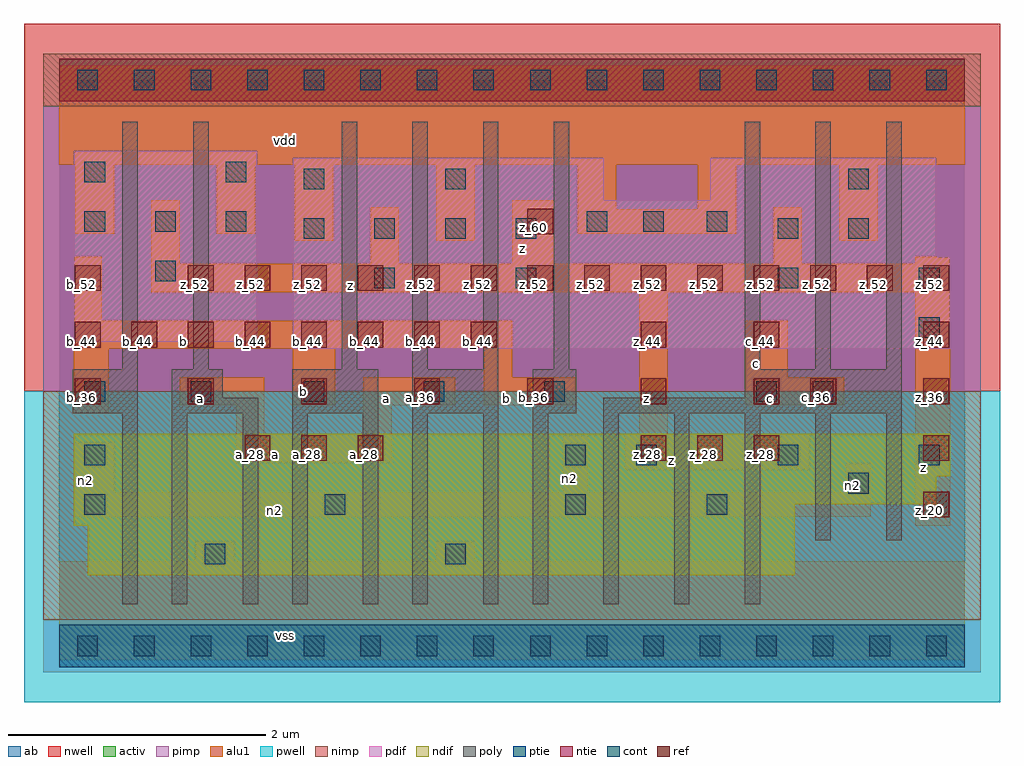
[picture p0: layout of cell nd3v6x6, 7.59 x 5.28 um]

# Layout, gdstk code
import gdstk
lib = gdstk.Library(unit=1e-6, precision=2.5e-09)
def R(c, l, rs):  # rectangles x0, y0, x1, y1
    for r in rs: c.add(gdstk.rectangle(r[:2], r[2:], *l))
def A(c, l, x, y, w, h, nx, ny, dx, dy):  # array of equal rectangles
    R(c, l, [(x+i*dx, y+j*dy, x+i*dx+w, y+j*dy+h) for i in range(nx) for j in range(ny)])
ndif = (3, 0)
pdif = (4, 0)
ntie = (5, 0)
ptie = (6, 0)
ref = (24, 0)
cont = (25, 0)
pwell = (41, 0)
nwell = (42, 0)
activ = (43, 0)
pimp = (44, 0)
nimp = (45, 0)
poly = (46, 0)
alu1 = (49, 0)
ab = (63, 0)

nd3v6x6 = lib.new_cell('nd3v6x6')
R(nd3v6x6, ndif, [(0.22,0.55,5.72,0.935), (0.11,0.935,5.72,1.1), (0.11,1.1,6.82,1.32), (0.11,1.32,6.93,1.65)])
R(nd3v6x6, pdif, [(1.815,2.31,6.93,3.025), (0.11,2.365,1.54,3.85), (1.815,3.025,6.82,3.465), (1.815,3.465,4.235,3.795), (5.06,3.465,6.82,3.795)])
R(nd3v6x6, ntie, [(0,4.235,7.04,4.565)])
R(nd3v6x6, ptie, [(0,-0.165,7.04,0.165)])
A(nd3v6x6, ref, 6.72, 1, 0.2, 0.2, 1, 4, 0, 0.44)
A(nd3v6x6, ref, 1.44, 1.44, 0.2, 0.2, 3, 1, 0.44, 0)
A(nd3v6x6, ref, 4.52, 1.44, 0.2, 0.2, 3, 1, 0.44, 0)
A(nd3v6x6, ref, 0.12, 1.88, 0.2, 0.2, 7, 1, 0.88, 0)
A(nd3v6x6, ref, 0.12, 2.32, 0.2, 0.2, 8, 1, 0.44, 0)
A(nd3v6x6, ref, 1, 2.76, 0.2, 0.2, 14, 1, 0.44, 0)
R(nd3v6x6, ref, [(5.84,1.88,6.04,2.08), (4.52,2.32,4.72,2.52), (5.4,2.32,5.6,2.52), (0.12,2.76,0.32,2.96), (3.64,3.2,3.84,3.4)])
A(nd3v6x6, cont, 0.14, -0.08, 0.16, 0.16, 16, 2, 0.44, 4.4)
A(nd3v6x6, cont, 0.195, 1.02, 0.16, 0.16, 3, 1, 1.87, 0)
A(nd3v6x6, cont, 4.485, 1.405, 0.16, 0.16, 3, 1, 1.1, 0)
A(nd3v6x6, cont, 1.9, 1.9, 0.16, 0.16, 3, 1, 0.935, 0)
A(nd3v6x6, cont, 1.9, 3.165, 0.16, 0.16, 4, 1, 0.55, 0)
A(nd3v6x6, cont, 0.195, 3.22, 0.16, 0.16, 3, 1, 0.55, 0)
R(nd3v6x6, cont, [(1.13,0.635,1.29,0.795), (3,0.635,3.16,0.795), (5.035,1.02,5.195,1.18), (6.135,1.185,6.295,1.345), (0.195,1.405,0.355,1.565), (3.935,1.405,4.095,1.565), (0.195,1.9,0.355,2.06), (1.02,1.9,1.18,2.06), (5.42,1.9,5.58,2.06), (5.86,1.9,6.02,2.06), (6.685,2.395,6.845,2.555), (2.45,2.78,2.61,2.94), (3.55,2.78,3.71,2.94), (5.585,2.78,5.745,2.94), (6.685,2.78,6.845,2.94), (0.745,2.835,0.905,2.995), (5.585,3.165,5.745,3.325), (6.135,3.165,6.295,3.325), (4.1,3.22,4.26,3.38), (4.54,3.22,4.7,3.38), (5.035,3.22,5.195,3.38), (1.9,3.55,2.06,3.71), (3,3.55,3.16,3.71), (6.135,3.55,6.295,3.71), (0.195,3.605,0.355,3.765), (1.295,3.605,1.455,3.765)])
R(nd3v6x6, pwell, [(-0.275,-0.44,7.315,1.98)])
R(nd3v6x6, nwell, [(-0.275,1.98,7.315,4.84)])
R(nd3v6x6, activ, [(0,-0.165,7.04,0.165), (0.22,0.55,5.72,0.935), (0.11,0.935,5.72,1.1), (0.11,1.1,6.82,1.32), (0.11,1.32,6.93,1.65), (1.815,2.31,6.93,3.025), (0.11,2.365,1.54,3.85), (1.815,3.025,6.82,3.465), (1.815,3.465,4.235,3.795), (5.06,3.465,6.82,3.795), (0,4.235,7.04,4.565)])
R(nd3v6x6, pimp, [(-0.125,-0.205,7.165,0.205), (-0.125,1.98,7.165,4.195)])
R(nd3v6x6, nimp, [(-0.125,0.205,7.165,1.98), (-0.125,4.195,7.165,4.605)])
A(nd3v6x6, poly, 3.68, 0.325, 0.12, 1.485, 4, 1, 0.55, 0)
A(nd3v6x6, poly, 2.195, 2.15, 0.12, 1.925, 4, 1, 0.55, 0)
A(nd3v6x6, poly, 5.33, 2.15, 0.12, 1.925, 3, 1, 0.55, 0)
R(nd3v6x6, poly, [(0.49,0.325,0.61,1.81), (0.875,0.325,0.995,1.81), (1.425,0.325,1.545,1.81), (1.81,0.325,1.93,1.81), (2.36,0.325,2.48,1.81), (2.745,0.325,2.865,1.81), (3.295,0.325,3.415,1.81), (5.88,0.82,6,1.81), (6.43,0.82,6.55,1.81), (0.105,1.81,0.61,2.15), (0.875,1.81,1.545,1.93), (1.81,1.81,2.48,2.15), (2.745,1.81,3.415,2.15), (3.68,1.81,4.02,2.15), (4.23,1.81,6.55,1.93), (0.875,1.93,1.27,2.15), (5.33,1.93,6.55,2.15), (0.49,2.15,0.61,4.075), (1.04,2.15,1.16,4.075)])
R(nd3v6x6, alu1, [(0,-0.11,7.04,0.66), (1.06,0.66,1.36,0.81), (2.93,0.66,3.23,0.81), (6.655,0.935,6.93,2.75), (0.125,1.005,6.31,1.195), (0.125,1.195,0.425,1.58), (3.92,1.195,4.11,1.635), (6.12,1.195,6.31,1.415), (4.4,1.375,5.83,1.65), (1.375,1.43,2.585,1.65), (1.375,1.65,1.595,1.87), (2.365,1.65,2.585,1.87), (4.51,1.65,4.73,2.75), (0.11,1.815,0.385,2.31), (0.935,1.87,1.595,2.09), (1.815,1.87,2.145,2.31), (2.365,1.87,3.08,2.09), (3.3,1.87,4.015,2.09), (5.335,1.87,6.105,2.09), (3.3,2.09,3.52,2.31), (5.335,2.09,5.665,2.53), (0.11,2.31,3.52,2.53), (0.11,2.53,0.33,3.025), (0.715,2.75,6.93,2.97), (0.715,2.97,0.935,3.465), (2.42,2.97,2.64,3.41), (3.52,2.97,3.85,3.465), (5.555,2.97,5.775,3.41), (6.655,2.97,6.93,3.025), (1.83,3.15,2.13,3.74), (2.93,3.15,3.23,3.74), (6.065,3.15,6.365,3.74), (0.125,3.205,0.425,3.74), (1.225,3.205,1.525,3.74), (4.03,3.205,5.265,3.395), (4.03,3.395,4.33,3.74), (4.965,3.395,5.265,3.74), (0,3.74,7.04,4.51)])
R(nd3v6x6, ab, [(0,0,7.04,4.4)])
nd3v6x6.add(gdstk.Label('vss', (1.76,0.0825), layer=49, texttype=0))
nd3v6x6.add(gdstk.Label('z', (6.7225,1.3875), layer=49, texttype=0))
nd3v6x6.add(gdstk.Label('n2', (1.67,1.0525), layer=49, texttype=0))
nd3v6x6.add(gdstk.Label('n2', (6.1675,1.25), layer=49, texttype=0))
nd3v6x6.add(gdstk.Label('z', (4.7575,1.4425), layer=49, texttype=0))
nd3v6x6.add(gdstk.Label('n2', (3.9675,1.305), layer=49, texttype=0))
nd3v6x6.add(gdstk.Label('a', (1.6775,1.485), layer=49, texttype=0))
nd3v6x6.add(gdstk.Label('n2', (0.2,1.29), layer=49, texttype=0))
nd3v6x6.add(gdstk.Label('c', (5.5275,1.925), layer=49, texttype=0))
nd3v6x6.add(gdstk.Label('c', (5.4175,2.2), layer=49, texttype=0))
nd3v6x6.add(gdstk.Label('z', (4.565,1.925), layer=49, texttype=0))
nd3v6x6.add(gdstk.Label('b', (3.4775,1.925), layer=49, texttype=0))
nd3v6x6.add(gdstk.Label('a', (2.5425,1.925), layer=49, texttype=0))
nd3v6x6.add(gdstk.Label('b', (1.8975,1.98), layer=49, texttype=0))
nd3v6x6.add(gdstk.Label('a', (1.1,1.925), layer=49, texttype=0))
nd3v6x6.add(gdstk.Label('b', (0.9625,2.365), layer=49, texttype=0))
nd3v6x6.add(gdstk.Label('z', (2.2675,2.805), layer=49, texttype=0))
nd3v6x6.add(gdstk.Label('z', (3.6025,3.0925), layer=49, texttype=0))
nd3v6x6.add(gdstk.Label('vdd', (1.76,3.9325), layer=49, texttype=0))
nd3v6x6.add(gdstk.Label('z_20', (6.77,1.05), layer=24, texttype=0))
nd3v6x6.add(gdstk.Label('z_60', (3.69,3.25), layer=24, texttype=0))
nd3v6x6.add(gdstk.Label('z_52', (5.89,2.81), layer=24, texttype=0))
nd3v6x6.add(gdstk.Label('z_52', (5.45,2.81), layer=24, texttype=0))
nd3v6x6.add(gdstk.Label('z_52', (5.01,2.81), layer=24, texttype=0))
nd3v6x6.add(gdstk.Label('z_52', (4.57,2.81), layer=24, texttype=0))
nd3v6x6.add(gdstk.Label('z_52', (3.69,2.81), layer=24, texttype=0))
nd3v6x6.add(gdstk.Label('z_52', (3.25,2.81), layer=24, texttype=0))
nd3v6x6.add(gdstk.Label('z_52', (2.81,2.81), layer=24, texttype=0))
nd3v6x6.add(gdstk.Label('z_52', (2.37,2.81), layer=24, texttype=0))
nd3v6x6.add(gdstk.Label('z_52', (1.93,2.81), layer=24, texttype=0))
nd3v6x6.add(gdstk.Label('z_52', (1.49,2.81), layer=24, texttype=0))
nd3v6x6.add(gdstk.Label('b_44', (0.61,2.37), layer=24, texttype=0))
nd3v6x6.add(gdstk.Label('b_44', (1.05,2.37), layer=24, texttype=0))
nd3v6x6.add(gdstk.Label('b_44', (1.49,2.37), layer=24, texttype=0))
nd3v6x6.add(gdstk.Label('b_44', (1.93,2.37), layer=24, texttype=0))
nd3v6x6.add(gdstk.Label('b_44', (2.37,2.37), layer=24, texttype=0))
nd3v6x6.add(gdstk.Label('b_44', (2.81,2.37), layer=24, texttype=0))
nd3v6x6.add(gdstk.Label('a_28', (1.49,1.49), layer=24, texttype=0))
nd3v6x6.add(gdstk.Label('a_28', (1.93,1.49), layer=24, texttype=0))
nd3v6x6.add(gdstk.Label('a_28', (2.37,1.49), layer=24, texttype=0))
nd3v6x6.add(gdstk.Label('b_52', (0.17,2.81), layer=24, texttype=0))
nd3v6x6.add(gdstk.Label('b_44', (0.17,2.37), layer=24, texttype=0))
nd3v6x6.add(gdstk.Label('b_44', (3.25,2.37), layer=24, texttype=0))
nd3v6x6.add(gdstk.Label('b_36', (3.69,1.93), layer=24, texttype=0))
nd3v6x6.add(gdstk.Label('b_36', (0.17,1.93), layer=24, texttype=0))
nd3v6x6.add(gdstk.Label('a_36', (2.81,1.93), layer=24, texttype=0))
nd3v6x6.add(gdstk.Label('b_36', (1.93,1.93), layer=24, texttype=0))
nd3v6x6.add(gdstk.Label('z_52', (1.05,2.81), layer=24, texttype=0))
nd3v6x6.add(gdstk.Label('z_36', (4.57,1.93), layer=24, texttype=0))
nd3v6x6.add(gdstk.Label('z_28', (4.57,1.49), layer=24, texttype=0))
nd3v6x6.add(gdstk.Label('z_28', (5.01,1.49), layer=24, texttype=0))
nd3v6x6.add(gdstk.Label('z_28', (5.45,1.49), layer=24, texttype=0))
nd3v6x6.add(gdstk.Label('z_52', (6.77,2.81), layer=24, texttype=0))
nd3v6x6.add(gdstk.Label('c_44', (5.45,2.37), layer=24, texttype=0))
nd3v6x6.add(gdstk.Label('z_44', (6.77,2.37), layer=24, texttype=0))
nd3v6x6.add(gdstk.Label('c_36', (5.89,1.93), layer=24, texttype=0))
nd3v6x6.add(gdstk.Label('z_36', (6.77,1.93), layer=24, texttype=0))
nd3v6x6.add(gdstk.Label('c_36', (5.45,1.93), layer=24, texttype=0))
nd3v6x6.add(gdstk.Label('z_44', (4.57,2.37), layer=24, texttype=0))
nd3v6x6.add(gdstk.Label('z_52', (4.13,2.81), layer=24, texttype=0))
nd3v6x6.add(gdstk.Label('a_36', (1.05,1.93), layer=24, texttype=0))
nd3v6x6.add(gdstk.Label('z_52', (6.33,2.81), layer=24, texttype=0))
nd3v6x6.add(gdstk.Label('z_28', (6.77,1.49), layer=24, texttype=0))

lib.write_gds('nd3v6x6.gds')
